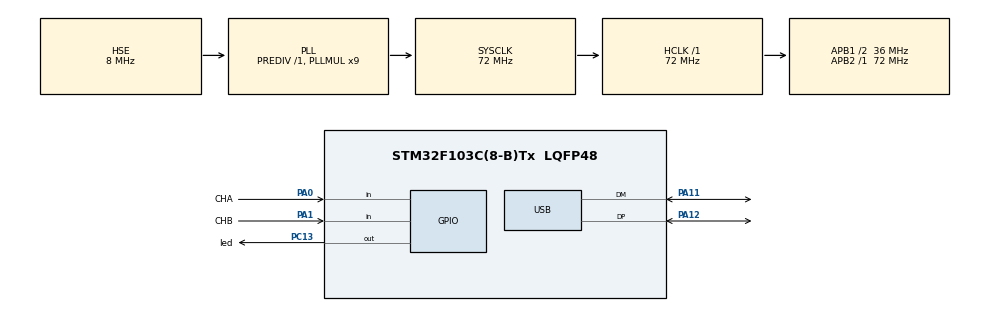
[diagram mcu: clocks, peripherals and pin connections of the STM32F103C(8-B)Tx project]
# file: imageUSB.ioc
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Mcu.Family=STM32F1
Mcu.Name=STM32F103C(8-B)Tx
Mcu.Package=LQFP48
NVIC.PriorityGroup=NVIC_PRIORITYGROUP_4
NVIC.TIM2_IRQn=true\:0\:0\:false\:false\:true\:true\:true
NVIC.USB_LP_CAN1_RX0_IRQn=true\:0\:0\:false\:false\:true\:true\:true
PA0-WKUP.GPIO_Label=CHA
PA0-WKUP.Signal=GPIO_Input
PA1.GPIO_Label=CHB
PA1.Signal=GPIO_Input
PA11.Mode=Device
PA11.Signal=USB_DM
PA12.Mode=Device
PA12.Signal=USB_DP
PA13.Mode=Serial_Wire
PA13.Signal=SYS_JTMS-SWDIO
PA14.Mode=Serial_Wire
PA14.Signal=SYS_JTCK-SWCLK
PC13-TAMPER-RTC.GPIO_Label=led
PC13-TAMPER-RTC.Signal=GPIO_Output
PD0-OSC_IN.Mode=HSE-External-Oscillator
PD0-OSC_IN.Signal=RCC_OSC_IN
PD1-OSC_OUT.Mode=HSE-External-Oscillator
PD1-OSC_OUT.Signal=RCC_OSC_OUT
ProjectManager.HeapSize=0x200
ProjectManager.StackSize=0x400
ProjectManager.TargetToolchain=STM32CubeIDE
RCC.AHBFreq_Value=72000000
RCC.APB1CLKDivider=RCC_HCLK_DIV2
RCC.APB1Freq_Value=36000000
RCC.APB1TimFreq_Value=72000000
RCC.APB2Freq_Value=72000000
RCC.APB2TimFreq_Value=72000000
RCC.HCLKFreq_Value=72000000
RCC.PLLMUL=RCC_PLL_MUL9
RCC.SYSCLKFreq_VALUE=72000000
RCC.SYSCLKSource=RCC_SYSCLKSOURCE_PLLCLK
RCC.USBFreq_Value=48000000
RCC.USBPrescaler=RCC_USBCLKSOURCE_PLL_DIV1_5
TIM2.Period=1
TIM2.Prescaler=35999
USB_DEVICE.APP_RX_DATA_SIZE=512
USB_DEVICE.APP_TX_DATA_SIZE=512
USB_DEVICE.CLASS_NAME_FS=CDC
USB_DEVICE.VirtualMode=Cdc
USB_DEVICE.VirtualModeFS=Cdc_FS
VP_TIM2_VS_ClockSourceINT.Mode=Internal
VP_USB_DEVICE_VS_USB_DEVICE_CDC_FS.Mode=CDC_FS
board=custom

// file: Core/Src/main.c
/* USER CODE BEGIN Header */
/**
  ******************************************************************************
  * @file           : main.c
  * @brief          : Main program body
  ******************************************************************************
  * @attention
  *
  * <h2><center>&copy; Copyright (c) 2020 STMicroelectronics.
  * All rights reserved.</center></h2>
  *
  * This software component is licensed by ST under BSD 3-Clause license,
  * the "License"; You may not use this file except in compliance with the
  * License. You may obtain a copy of the License at:
  *                        opensource.org/licenses/BSD-3-Clause
  *
  * @author         : Miguel Angel Ruiz Torres
  * @email          : miguelangelrtorresco@gmail.com
  * @github         : https://github.com/miguelanruiz
  *
  ******************************************************************************
  */
/* USER CODE END Header */

#include "main.h"
#include "usb_device.h"

/* USER CODE BEGIN Includes */
#include "usbd_cdc_if.h"
/* USER CODE END Includes */

/* USER CODE BEGIN PD */
/**
  * @brief Constant indicating the timer has finished its count.
  */
#define TIMER_FINISHED 0

/**
  * @brief Total number of elevators being managed.
  */
#define NUM_ELEVATORS 2

/**
  * @brief Size of the queue that holds floor requests for each elevator.
  */
#define SIZE_QUEUE 10

/**
  * @brief Size of the keyboard queue, matching the size of the main queue.
  */
#define SIZE_QUEUE_KEYBOARD SIZE_QUEUE

/**
  * @brief Size of the command chain array for each elevator.
  */
#define SIZE_PAGE_ASCENSOR 16

/**
  * @brief Size of the array that represents the status of the doors.
  */
#define SIZE_PAGE_DOORS NUM_ELEVATORS

/**
  * @brief Total size of the data report, combining command chains and door status.
  */
#define SIZE_DATA_REPORT (SIZE_PAGE_ASCENSOR * NUM_ELEVATORS + SIZE_PAGE_DOORS)

/**
  * @brief Placeholder value when no floor is selected.
  */
#define NO_FLOOR_SELECTED 3

/**
  * @brief The starting floor for the MCU upon initialization.
  */
#define DEFAULT_START_MCU_FLOOR 3

/**
  * @brief Constant time for elevator movement between floors.
  */
#define CONST_TIME_MOVEMENT 3000

/**
  * @brief Constant time for doors' opening and closing.
  */
#define CONST_DOORS_MOVEMENT 8000

/**
  * @brief Interval at which USB data transmission occurs.
  */
#define USB_TRANSMISSION_INTERVAL 500

/**
  * @brief Elevator ID for the first elevator.
  */
#define ELEVATOR_ID_A '1'

/**
  * @brief Elevator ID for the second elevator.
  */
#define ELEVATOR_ID_B '2'

/**
  * @brief Request identifier for elevator commands.
  */
#define ELEVATOR_REQUEST 'X'

/**
  * @brief Index where floor buttons begin in the elevator command chain.
  */
#define FLOOR_BUTTONS_START_INDEX 6

/**
  * @brief Index for the 'going up' bit in the command chain.
  */
#define BIT_UP 3

/**
  * @brief Index for the 'going down' bit in the command chain.
  */
#define BIT_DOWN 5

/**
  * @brief Polynomial used for CRC8 checksum calculations.
  */
#define G_P 0x107 // x^8 + x^2 + x + 1
/* USER CODE END PD */

TIM_HandleTypeDef htim2;

/* USER CODE BEGIN PV */

/* Enums for various states and statuses used in the application */

/**
 * @brief Timer identifiers for various timing functions.
 */
enum {
    T0 = 0,
    T1,
    T2,
    T3,
    T4,
    T5,
    TRANSMISSION_TIMER,
    TIMERS
};

/**
 * @brief States in which an elevator can be.
 */
typedef enum {
    STOPPED = 0,
    GOING_UP,
    GOING_DOWN,
    OPENING_DOORS,
    CLOSING_DOORS
} ELEVATOR_STATE;

/**
 * @brief States of USB communication.
 */
typedef enum {
    SENDING = 0,
    AWAITING,
    COM_ERROR
} USB_COMM_STATE;

/**
 * @brief Flag statuses for enabling or disabling features.
 */
typedef enum {
    _BIT_DISABLE = '0',
    _BIT_ENABLE = '1'
} FLAG_STATUS;

/* Variables for tracking the state and operation of elevators and communication */

/**
 * @brief Current USB communication state.
 */
volatile USB_COMM_STATE commState = SENDING;

/**
 * @brief Elevator structure representing the state and control of an elevator.
 */
typedef struct {
    volatile ELEVATOR_STATE state;            ///< Current state of the elevator
    volatile uint8_t position;                ///< Current floor position of the elevator
    volatile uint8_t next;                    ///< Next target floor for the elevator
    volatile uint8_t queue[SIZE_QUEUE];       ///< Queue of floor requests
    volatile uint8_t commandChain[SIZE_PAGE_ASCENSOR]; ///< Command chain for USB communication
    uint8_t timerUp;                          ///< Timer index for moving up
    uint8_t timerDown;                        ///< Timer index for moving down
    uint8_t timerDoors;                       ///< Timer index for doors operation
} Elevator;

/**
 * @brief Array of elevator structures to manage multiple elevators.
 */
Elevator elevators[NUM_ELEVATORS];

/**
 * @brief Array of timers for various timing operations in the application.
 */
volatile uint32_t TIM_BANK[TIMERS];

/* Variables for door status and USB communication */

/**
 * @brief Status of the doors for each elevator, where each index represents an elevator.
 */
volatile uint8_t lockedDoors[SIZE_PAGE_DOORS];

/**
 * @brief Buffer to hold the combined data report for USB transmission.
 */
volatile uint8_t dataReport[SIZE_DATA_REPORT];

/**
 * @brief Counter used for timing operations.
 */
volatile uint16_t TIME_STEP = 0;

/* USER CODE END PV */
void SystemClock_Config(void);
static void MX_GPIO_Init(void);
static void MX_TIM2_Init(void);
/* USER CODE BEGIN PFP */
/* Function prototypes for initializing and running elevator operations */
void InitCommandChain(volatile uint8_t *commandChain, char elevatorID);
void InitElevator(Elevator* e, char elevatorID, uint8_t timerUpIdx, uint8_t timerDownIdx, uint8_t timerDoorsIdx);
void RunElevator(Elevator* e);
void UpdateTargetFloor(Elevator* e);
void UpdateElevatorCommandChain(Elevator* e, ELEVATOR_STATE movingState);
void CheckAndOpenDoors(Elevator* e);
void BuildDataReport(uint8_t *firstReport, uint8_t *secondReport, uint8_t *doorsStatus, uint8_t *combinedReport);
int GetClosestElevator(int floorRequested);
void AttemptUSBReset();
void HandleUSBCommunication();
void HandleElevatorRequest(uint8_t *buf);
void HandleFloorButtonState(uint8_t *buf, int elevatorIndex);
void SetErrorState(int elevatorIndex);
uint8_t CRC_8(uint8_t *message, uint32_t length);
/* USER CODE END PFP */

int main(void)
{

  /* MCU Configuration--------------------------------------------------------*/

  /* Reset of all peripherals, Initializes the Flash interface and the Systick. */
  HAL_Init();

  /* Configure the system clock */
  SystemClock_Config();

  /* Initialize all configured peripherals */
  MX_GPIO_Init();
  MX_TIM2_Init();
  MX_USB_DEVICE_Init();
  /* USER CODE BEGIN 2 */
  HAL_TIM_Base_Start_IT(&htim2);
  //HAL_TIM_PWM_Start(&htim3,TIM_CHANNEL_1);
  /* USER CODE END 2 */

  InitElevator(&elevators[0], ELEVATOR_ID_A, T0, T1, T2);
  InitElevator(&elevators[1], ELEVATOR_ID_B, T3, T4, T5);

  lockedDoors[0] = _BIT_DISABLE;
  lockedDoors[1] = _BIT_DISABLE;

  TIM_BANK[TRANSMISSION_TIMER] = USB_TRANSMISSION_INTERVAL;

  // Doors timer
  TIM_BANK[T2] = 0;
  TIM_BANK[T5] = 0;

  while (1)
  {
    /* USER CODE BEGIN 3 */
	  runElevator(&elevators[0]);
	  runElevator(&elevators[1]);
	  HandleUSBCommunication();
  }
  return 0;
  /* USER CODE END 3 */
}

void SystemClock_Config(void)
{
  RCC_OscInitTypeDef RCC_OscInitStruct = {0};
  RCC_ClkInitTypeDef RCC_ClkInitStruct = {0};
  RCC_PeriphCLKInitTypeDef PeriphClkInit = {0};

  /** Initializes the CPU, AHB and APB busses clocks
  */
  RCC_OscInitStruct.OscillatorType = RCC_OSCILLATORTYPE_HSE;
  RCC_OscInitStruct.HSEState = RCC_HSE_ON;
  RCC_OscInitStruct.HSEPredivValue = RCC_HSE_PREDIV_DIV1;
  RCC_OscInitStruct.HSIState = RCC_HSI_ON;
  RCC_OscInitStruct.PLL.PLLState = RCC_PLL_ON;
  RCC_OscInitStruct.PLL.PLLSource = RCC_PLLSOURCE_HSE;
  RCC_OscInitStruct.PLL.PLLMUL = RCC_PLL_MUL9;
  if (HAL_RCC_OscConfig(&RCC_OscInitStruct) != HAL_OK)
  {
    Error_Handler();
  }
  /** Initializes the CPU, AHB and APB busses clocks
  */
  RCC_ClkInitStruct.ClockType = RCC_CLOCKTYPE_HCLK|RCC_CLOCKTYPE_SYSCLK
                              |RCC_CLOCKTYPE_PCLK1|RCC_CLOCKTYPE_PCLK2;
  RCC_ClkInitStruct.SYSCLKSource = RCC_SYSCLKSOURCE_PLLCLK;
  RCC_ClkInitStruct.AHBCLKDivider = RCC_SYSCLK_DIV1;
  RCC_ClkInitStruct.APB1CLKDivider = RCC_HCLK_DIV2;
  RCC_ClkInitStruct.APB2CLKDivider = RCC_HCLK_DIV1;

  if (HAL_RCC_ClockConfig(&RCC_ClkInitStruct, FLASH_LATENCY_2) != HAL_OK)
  {
    Error_Handler();
  }
  PeriphClkInit.PeriphClockSelection = RCC_PERIPHCLK_USB;
  PeriphClkInit.UsbClockSelection = RCC_USBCLKSOURCE_PLL_DIV1_5;
  if (HAL_RCCEx_PeriphCLKConfig(&PeriphClkInit) != HAL_OK)
  {
    Error_Handler();
  }
}

static void MX_TIM2_Init(void)
{

  TIM_ClockConfigTypeDef sClockSourceConfig = {0};
  TIM_MasterConfigTypeDef sMasterConfig = {0};

  htim2.Instance = TIM2;
  htim2.Init.Prescaler = 35999;
  htim2.Init.CounterMode = TIM_COUNTERMODE_UP;
  htim2.Init.Period = 1;
  htim2.Init.ClockDivision = TIM_CLOCKDIVISION_DIV1;
  htim2.Init.AutoReloadPreload = TIM_AUTORELOAD_PRELOAD_DISABLE;
  if (HAL_TIM_Base_Init(&htim2) != HAL_OK)
  {
    Error_Handler();
  }
  sClockSourceConfig.ClockSource = TIM_CLOCKSOURCE_INTERNAL;
  if (HAL_TIM_ConfigClockSource(&htim2, &sClockSourceConfig) != HAL_OK)
  {
    Error_Handler();
  }
  sMasterConfig.MasterOutputTrigger = TIM_TRGO_RESET;
  sMasterConfig.MasterSlaveMode = TIM_MASTERSLAVEMODE_DISABLE;
  if (HAL_TIMEx_MasterConfigSynchronization(&htim2, &sMasterConfig) != HAL_OK)
  {
    Error_Handler();
  }

}

static void MX_GPIO_Init(void)
{
  GPIO_InitTypeDef GPIO_InitStruct = {0};

  /* GPIO Ports Clock Enable */
  __HAL_RCC_GPIOC_CLK__BIT_ENABLE();
  __HAL_RCC_GPIOD_CLK__BIT_ENABLE();
  __HAL_RCC_GPIOA_CLK__BIT_ENABLE();

  /*Configure GPIO pin Output Level */
  HAL_GPIO_WritePin(led_GPIO_Port, led_Pin, GPIO_PIN_RESET);

  /*Configure GPIO pin : led_Pin */
  GPIO_InitStruct.Pin = led_Pin;
  GPIO_InitStruct.Mode = GPIO_MODE_OUTPUT_PP;
  GPIO_InitStruct.Pull = GPIO_NOPULL;
  GPIO_InitStruct.Speed = GPIO_SPEED_FREQ_LOW;
  HAL_GPIO_Init(led_GPIO_Port, &GPIO_InitStruct);

  /*Configure GPIO pins : CHA_Pin CHB_Pin */
  GPIO_InitStruct.Pin = CHA_Pin|CHB_Pin;
  GPIO_InitStruct.Mode = GPIO_MODE_INPUT;
  GPIO_InitStruct.Pull = GPIO_NOPULL;
  HAL_GPIO_Init(GPIOA, &GPIO_InitStruct);

}

/* USER CODE BEGIN 4 */

/**
  * @brief Modifies the command chain for a specified elevator.
  * @param commandChain: A pointer to the array where the elevator command chain is stored.
  *                      The default command chain 'A1S0B0' indicates:
  *                      'A': Prefix for elevator command chain,
  *                      '1' or '2': Elevator ID,
  *                      'S0': Not going up,
  *                      'B0': Not going down.
  * @param elevatorID: The elevator identifier, '1' or '2', to be set in the command chain.
  * @retval None
  */
void InitCommandChain(volatile uint8_t *commandChain, char elevatorID) {
    if (commandChain != NULL) {
        commandChain[0] = 'A';
        commandChain[1] = elevatorID;
        commandChain[2] = 'S';
        commandChain[3] = _BIT_DISABLE;
        commandChain[4] = 'B';
        commandChain[5] = _BIT_DISABLE;
    }
}

/**
 * @brief Initialize an elevator structure with default values and specified timers.
 * @param e Pointer to the elevator structure to initialize.
 * @param elevatorID Identifier for the elevator ('1' or '2').
 * @param timerUpIdx Index of the timer for going up.
 * @param timerDownIdx Index of the timer for going down.
 * @param timerDoorsIdx Index of the timer for doors operation.
 */
void InitElevator(Elevator* e, char elevatorID, uint8_t timerUpIdx, uint8_t timerDownIdx, uint8_t timerDoorsIdx) {
    if (e != NULL) {
        e->state = STOPPED;
        e->position = DEFAULT_START_MCU_FLOOR;
        for (int i = 0; i < SIZE_QUEUE; i++) {
            e->queue[i] = NO_FLOOR_SELECTED;
        }
        InitElevatorCommandChain(e->commandChain, elevatorID);
        e->timerUp = timerUpIdx;
        e->timerDown = timerDownIdx;
        e->timerDoors = timerDoorsIdx;
    }
}

/**
 * @brief Callback function for TIM2 periodic elapsed events.
 * @param htim Pointer to the TIM_HandleTypeDef structure.
 */
void HAL_TIM_PeriodElapsedCallback(TIM_HandleTypeDef *htim)
{
  /* Prevent unused argument(s) compilation warning */
  //UNUSED(htim);
	if(htim->Instance == TIM2){
		if(TIME_STEP ++ == SECOND){
			TIME_STEP = 0;
			HAL_GPIO_TogglePin(GPIOC, GPIO_PIN_13);
		}
		for(int i = 0; i < TIMERS; i++){
			if(TIM_BANK[i] != TIMER_FINISHED)
				TIM_BANK[i]--;
		}
	}
  /* NOTE : This function should not be modified, when the callback is needed,
            the HAL_TIM_PeriodElapsedCallback could be implemented in the user file
   */
}

/**
 * @brief Handles elevator request messages.
 * @param buf Buffer containing the elevator request message.
 */
void HandleElevatorRequest(uint8_t *buf) {
    if (buf[BIT_UP] == _BIT_ENABLE || buf[BIT_DOWN] == _BIT_ENABLE) {
        int floorRequested = buf[7] - 47;
        int closestElevatorIndex = GetClosestElevator(floorRequested);

        // Assign the floor to the closest elevator
        elevators[closestElevatorIndex].queue[floorRequested - 1] = floorRequested;
        elevators[closestElevatorIndex].state = OPENING_DOORS;
    }
}

/**
 * @brief Returns the index of the closest elevator to the requested floor.
 * @param floorRequested The floor number that has been requested.
 * @return Index of the closest elevator.
 */
int GetClosestElevator(int floorRequested) {
    int distanceToFirstElevator = abs(elevators[0].position - floorRequested);
    int distanceToSecondElevator = abs(elevators[1].position - floorRequested);

    if (distanceToFirstElevator < distanceToSecondElevator) {
        return 0;
    } else {
        return 1;
    }
}

/**
 * @brief Handles the state of floor buttons for a specific elevator.
 * @param buf Buffer containing the state of the floor buttons.
 * @param elevatorIndex Index of the elevator.
 */
void HandleFloorButtonState(uint8_t *buf, int elevatorIndex) {
    if (buf[14] != CRC_8(buf + 4, 10)) {
        SetErrorState(elevatorIndex);
        return;
    }

    for (int i = 0; i < SIZE_QUEUE_KEYBOARD; i++) {
        if (buf[i + 4] == '1' && elevators[elevatorIndex].queue[i] == NO_FLOOR_SELECTED) {
            elevators[elevatorIndex].queue[i] = i + 1;
        }
    }
}

/**
 * @brief Sets the error state for a specific elevator.
 * @param elevatorIndex Index of the elevator to set the error state.
 */
void SetErrorState(int elevatorIndex) {
    commState = COM_ERROR;
    for (int i = 6; i < SIZE_PAGE_ASCENSOR; i++) {
        elevators[elevatorIndex].commandChain[i] = _BIT_ENABLE;
    }
}

/**
 * @brief Callback function to handle data received over USB.
 * @param buf Buffer containing received data.
 * @param len Length of the received data.
 */
void CDC_ReceiveCallBack(uint8_t *buf, uint32_t len) {
    if (buf[0] == 'A' && buf[1] == ELEVATOR_REQUEST) {
        if (buf[8] != CRC_8(buf, 8)) return;
        HandleElevatorRequest(buf);
    } else if (buf[0] == 'T' && buf[1] == 'F' && buf[2] == 'S') {
        if (buf[3] == ELEVATOR_ID_A) {
            HandleFloorButtonState(buf, 0);
        } else if (buf[3] == ELEVATOR_ID_B) {
            HandleFloorButtonState(buf, 1);
        }
    }
}

/**
 * @brief Runs the elevator operation logic based on its current state.
 * @param e Pointer to the elevator structure.
 */
void RunElevator(Elevator* e) {
    if (e == NULL) {
        return;
    }

    switch (e->state) {
        case STOPPED: {
            // Logic to determine the next target floor and transition to moving state
            UpdateTargetFloor(e);
            break;
        }
        case GOING_UP: {
            if (TIM_BANK[e->timerUp] == TIMER_FINISHED) {
                e->position++;
                UpdateElevatorCommandChain(e, GOING_UP);
                CheckAndOpenDoors(e);
                TIM_BANK[e->timerUp] = CONST_TIME_MOVEMENT;
            }
            break;
        }
        case GOING_DOWN: {
            if (TIM_BANK[e->timerDown] == TIMER_FINISHED) {
                e->position--;
                UpdateElevatorCommandChain(e, GOING_DOWN);
                CheckAndOpenDoors(e);
                TIM_BANK[e->timerDown] = CONST_TIME_MOVEMENT;
            }
            break;
        }
        case OPENING_DOORS: {
            if (TIM_BANK[e->timerDoors] == TIMER_FINISHED) {
                e->state = CLOSING_DOORS;
                lockedDoors[e->position] = _BIT_ENABLE;
                TIM_BANK[e->timerDoors] = CONST_DOORS_MOVEMENT;
            }
            break;
        }
        case CLOSING_DOORS: {
            if (TIM_BANK[e->timerDoors] == TIMER_FINISHED) {
                e->state = STOPPED;
                lockedDoors[e->position] = _BIT_DISABLE;
            }
            break;
        }
    }
}

/**
 * @brief Updates the target floor for the elevator based on its queue.
 * @param e Pointer to the elevator structure.
 */
void UpdateTargetFloor(Elevator* e) {
    int highestPriorityFloor = -1;
    for (int i = 0; i < SIZE_QUEUE; ++i) {
        if (e->queue[i] != NO_FLOOR_SELECTED &&
            (highestPriorityFloor == -1 || e->queue[i] > highestPriorityFloor)) {
            highestPriorityFloor = e->queue[i];
        }
    }

    if (highestPriorityFloor != -1) {
        if (highestPriorityFloor > e->position) {
            e->state = GOING_UP;
            TIM_BANK[e->timerUp] = CONST_TIME_MOVEMENT;
        } else if (highestPriorityFloor < e->position) {
            e->state = GOING_DOWN;
            TIM_BANK[e->timerDown] = CONST_TIME_MOVEMENT;
        }
    }
}

/**
 * @brief Updates the elevator's command chain based on its movement state.
 * @param e Pointer to the elevator structure.
 * @param movingState The current moving state of the elevator (GOING_UP, GOING_DOWN).
 */
void UpdateElevatorCommandChain(Elevator* e, ELEVATOR_STATE movingState) {
    memset(e->commandChain, _BIT_DISABLE, SIZE_PAGE_ASCENSOR);
    e->commandChain[0] = 'A';
    e->commandChain[1] = movingState == GOING_UP ? ELEVATOR_ID_A : ELEVATOR_ID_B;
    e->commandChain[2] = 'S';
    e->commandChain[BIT_UP] = movingState == GOING_UP ? _BIT_ENABLE : _BIT_DISABLE;
    e->commandChain[4] = 'B';
    e->commandChain[BIT_DOWN] = movingState == GOING_DOWN ? _BIT_ENABLE : _BIT_DISABLE;
    e->commandChain[FLOOR_BUTTONS_START_INDEX + e->position - 1] = _BIT_ENABLE;
}

/**
 * @brief Checks and opens the doors if the elevator has reached a requested floor.
 * @param e Pointer to the elevator structure.
 */
void CheckAndOpenDoors(Elevator* e) {
    for (int i = 0; i < SIZE_QUEUE; ++i) {
        if (e->queue[i] == e->position) {
            e->state = OPENING_DOORS;
            TIM_BANK[e->timerDoors] = CONST_DOORS_MOVEMENT;
            e->queue[i] = NO_FLOOR_SELECTED;  // Clear the request as it's being served
            break;
        }
    }
}

/**
 * @brief Computes the CRC-8 checksum for a given message.
 * @param message Pointer to the message data.
 * @param length Length of the message.
 * @return Computed CRC-8 checksum.
 */
uint8_t CRC_8(uint8_t *message, uint32_t length)
{
	uint8_t i, j, crc = 0;
    for (i = 0; i < length; i++)
    {
    	crc ^= message[i];
    	for (j = 0; j < 8; j++)
    	{
    		if (crc & 1)
    			crc ^= G_P;
    		crc >>= 1;
    	}
    }
    return crc;
}

/**
 * @brief Handles the overall USB communication logic. STM to PC communication.
 */
void HandleUSBCommunication() {
    switch (commState) {
        case SENDING: {
            // Build the data report to send
            BuildDataReport(elevators[0].commandChain, elevators[1].commandChain, lockedDoors, dataReport);
            // Send the data report over USB
            CDC_Transmit_FS(dataReport, SIZE_DATA_REPORT);
            // Set timer for next transmission
            TIM_BANK[TRANSMISSION_TIMER] = USB_TRANSMISSION_INTERVAL;
            // Transition to waiting state
            commState = AWAITING;
            break;
        }
        case AWAITING: {
            // Check if it's time to send another report
            if (TIM_BANK[TRANSMISSION_TIMER] == TIMER_FINISHED) {
                commState = SENDING;
            }
            break;
        }
        case COM_ERROR: {
            // Handle error state if needed, maybe try to reset USB interface
            if (TIM_BANK[TRANSMISSION_TIMER] == TIMER_FINISHED) {
                AttemptUSBReset();
                commState = AWAITING;
            }
            break;
        }
    }
}

/**
 * @brief Builds the data report for USB transmission.
 * @param firstReport Pointer to the first elevator's report data.
 * @param secondReport Pointer to the second elevator's report data.
 * @param doorsStatus Pointer to the doors' status data.
 * @param combinedReport Pointer to the buffer where the combined report will be stored.
 */
void BuildDataReport(uint8_t *firstReport, uint8_t *secondReport, uint8_t *doorsStatus, uint8_t *combinedReport) {
    memcpy(combinedReport, firstReport, SIZE_PAGE_ASCENSOR);
    memcpy(combinedReport + SIZE_PAGE_ASCENSOR, secondReport, SIZE_PAGE_ASCENSOR);
    memcpy(combinedReport + (2 * SIZE_PAGE_ASCENSOR), doorsStatus, SIZE_PAGE_DOORS);
}

/**
 * @brief Attempts to reset the USB interface in case of errors.
 */
void AttemptUSBReset() {
    // Logic to reset USB if possible
}

/* USER CODE END 4 */

/**
  * @brief  This function is executed in case of COM_ERROR_UNIT occurrence.
  * @retval None
  */
void Error_Handler(void)
{
}

/************************ (C) COPYRIGHT STMicroelectronics *****END OF FILE****/
